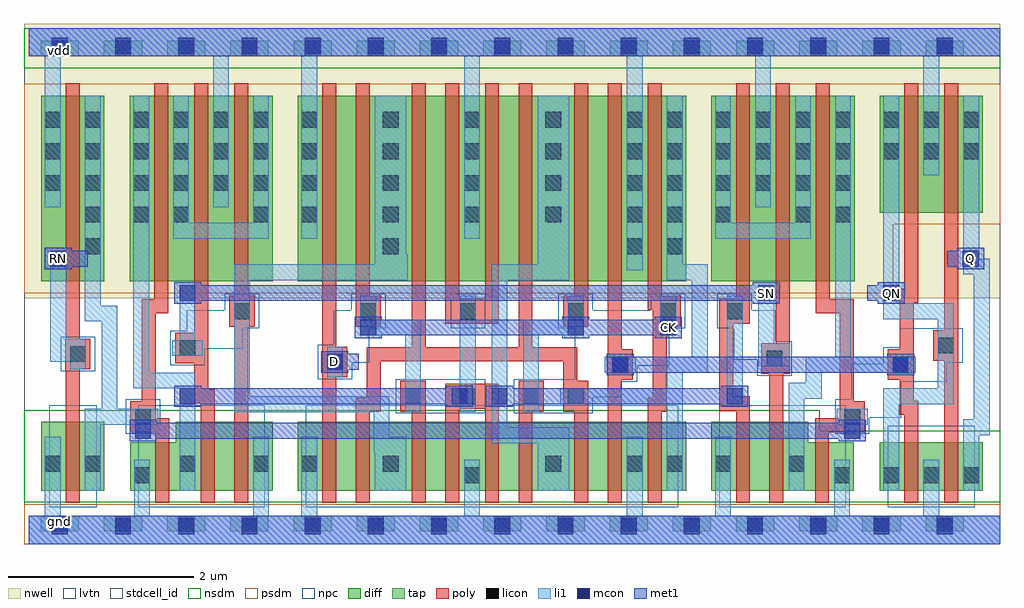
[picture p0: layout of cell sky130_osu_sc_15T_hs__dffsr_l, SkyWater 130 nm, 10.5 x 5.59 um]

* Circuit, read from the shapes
.subckt sky130_osu_sc_15T_hs__dffsr_l CK D Q QN RN SN gnd vdd
XM1 n1 RN gnd gnd sky130_fd_pr__nfet_01v8_lvt w=0.74 l=0.15
XM2 n2 n1 gnd gnd sky130_fd_pr__nfet_01v8_lvt w=0.52 l=0.15
XM3 n3 SN n2 gnd sky130_fd_pr__nfet_01v8_lvt w=0.74 l=0.15
XM4 gnd n4 n3 gnd sky130_fd_pr__nfet_01v8_lvt w=0.74 l=0.15
XM5 n5 D gnd gnd sky130_fd_pr__nfet_01v8_lvt w=0.74 l=0.15
XM6 n4 n6 n5 gnd sky130_fd_pr__nfet_01v8_lvt w=0.74 l=0.15
XM7 n7 CK n4 gnd sky130_fd_pr__nfet_01v8_lvt w=0.74 l=0.15
XM8 gnd n2 n7 gnd sky130_fd_pr__nfet_01v8_lvt w=0.74 l=0.15
XM9 n8 n2 gnd gnd sky130_fd_pr__nfet_01v8_lvt w=0.74 l=0.15
XM10 n9 CK n8 gnd sky130_fd_pr__nfet_01v8_lvt w=0.74 l=0.15
XM11 n10 n6 n9 gnd sky130_fd_pr__nfet_01v8_lvt w=0.74 l=0.15
XM12 gnd n11 n10 gnd sky130_fd_pr__nfet_01v8_lvt w=0.74 l=0.15
XM13 n6 CK gnd gnd sky130_fd_pr__nfet_01v8_lvt w=0.74 l=0.15
XM14 n12 n9 gnd gnd sky130_fd_pr__nfet_01v8_lvt w=0.74 l=0.15
XM15 n11 SN n12 gnd sky130_fd_pr__nfet_01v8_lvt w=0.74 l=0.15
XM16 gnd n1 n11 gnd sky130_fd_pr__nfet_01v8_lvt w=0.52 l=0.15
XM17 gnd n11 QN gnd sky130_fd_pr__nfet_01v8_lvt w=0.52 l=0.15
XM18 Q QN gnd gnd sky130_fd_pr__nfet_01v8_lvt w=0.52 l=0.15
XM19 n1 RN vdd vdd sky130_fd_pr__pfet_01v8 w=2 l=0.15
XM20 n13 n1 n2 vdd sky130_fd_pr__pfet_01v8 w=2 l=0.15
XM21 vdd SN n13 vdd sky130_fd_pr__pfet_01v8 w=2 l=0.15
XM22 n13 n4 vdd vdd sky130_fd_pr__pfet_01v8 w=2 l=0.15
XM23 n14 D vdd vdd sky130_fd_pr__pfet_01v8 w=2 l=0.15
XM24 n4 CK n14 vdd sky130_fd_pr__pfet_01v8 w=2 l=0.15
XM25 n15 n6 n4 vdd sky130_fd_pr__pfet_01v8 w=2 l=0.15
XM26 vdd n2 n15 vdd sky130_fd_pr__pfet_01v8 w=2 l=0.15
XM27 n16 n2 vdd vdd sky130_fd_pr__pfet_01v8 w=2 l=0.15
XM28 n9 n6 n16 vdd sky130_fd_pr__pfet_01v8 w=2 l=0.15
XM29 n17 CK n9 vdd sky130_fd_pr__pfet_01v8 w=2 l=0.15
XM30 vdd n11 n17 vdd sky130_fd_pr__pfet_01v8 w=2 l=0.15
XM31 n6 CK vdd vdd sky130_fd_pr__pfet_01v8 w=2 l=0.15
XM32 vdd n9 n18 vdd sky130_fd_pr__pfet_01v8 w=2 l=0.15
XM33 n18 SN vdd vdd sky130_fd_pr__pfet_01v8 w=2 l=0.15
XM34 n11 n1 n18 vdd sky130_fd_pr__pfet_01v8 w=2 l=0.15
XM35 vdd n11 QN vdd sky130_fd_pr__pfet_01v8 w=1.26 l=0.15
XM36 Q QN vdd vdd sky130_fd_pr__pfet_01v8 w=1.26 l=0.15
.ends

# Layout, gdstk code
import gdstk
lib = gdstk.Library(unit=1e-6, precision=1e-09)
def R(c, l, rs):  # rectangles x0, y0, x1, y1
    for r in rs: c.add(gdstk.rectangle(r[:2], r[2:], *l))
def A(c, l, x, y, w, h, nx, ny, dx, dy):  # array of equal rectangles
    R(c, l, [(x+i*dx, y+j*dy, x+i*dx+w, y+j*dy+h) for i in range(nx) for j in range(ny)])
nwell = (64, 20)
diff = (65, 20)
tap = (65, 44)
poly = (66, 20)
licon = (66, 44)
li1 = (67, 20)
mcon = (67, 44)
met1 = (68, 20)
stdcell_id = (81, 4)
nsdm = (93, 44)
psdm = (94, 20)
npc = (95, 20)
lvtn = (125, 44)

sky130_osu_sc_15t_hs__df = lib.new_cell('sky130_osu_sc_15T_hs__dffsr_l')
R(sky130_osu_sc_15t_hs__df, nwell, [(-0.05,2.645,10.45,5.595)])
R(sky130_osu_sc_15t_hs__df, diff, [(0.135,0.575,0.815,1.315), (1.095,0.575,2.625,1.095), (2.895,0.575,7.075,1.315), (7.345,0.575,8.875,1.095), (9.155,0.575,10.265,1.095), (1.585,1.095,2.625,1.315), (7.345,1.095,8.385,1.315), (0.135,2.825,0.815,4.825), (1.085,2.825,2.625,4.825), (2.895,2.825,7.075,4.825), (7.345,2.825,8.885,4.825), (9.155,3.565,10.265,4.825)])
A(sky130_osu_sc_15t_hs__df, tap, 0.13, 0.135, 0.41, 0.17, 15, 2, 0.68, 5.11)
R(sky130_osu_sc_15t_hs__df, poly, [(0.4,0.445,0.55,1.875), (1.36,0.445,1.51,1.205), (1.85,0.445,2,1.515), (2.21,0.445,2.36,2.34), (3.16,0.445,3.31,1.795), (3.52,0.445,3.67,1.425), (4.12,0.445,4.27,1.425), (4.48,0.445,4.63,1.455), (4.91,0.445,5.06,1.455), (5.27,0.445,5.42,1.425), (5.87,0.445,6.02,1.425), (6.23,0.445,6.38,1.765), (6.66,0.445,6.81,1.425), (7.61,0.445,7.76,1.43), (7.97,0.445,8.12,1.83), (8.46,0.445,8.61,1.205), (9.42,0.445,9.57,1.39), (9.85,0.445,10,1.97), (1.095,1.205,1.51,1.355), (8.46,1.205,8.995,1.355), (1.095,1.355,1.365,1.535), (8.725,1.355,8.995,1.535), (9.37,1.39,9.57,1.54), (3.52,1.425,3.79,1.575), (4,1.425,4.27,1.755), (5.27,1.425,5.54,1.755), (5.75,1.425,6.02,1.755), (6.66,1.425,6.865,1.575), (7.43,1.43,7.76,1.59), (4.48,1.455,5.06,1.725), (1.78,1.515,2,1.665), (1.215,1.535,1.365,2.485), (8.725,1.535,8.875,2.485), (9.37,1.54,9.52,1.765), (3.64,1.575,3.79,1.965), (6.715,1.575,6.865,2.34), (7.43,1.59,7.58,2.37), (1.78,1.665,1.93,1.945), (5.75,1.755,5.9,1.965), (6.23,1.765,6.5,2.095), (9.245,1.765,9.52,2.095), (3.16,1.795,3.43,2.125), (7.88,1.83,8.19,2.16), (0.395,1.875,0.55,1.88), (0.395,1.88,0.665,2.21), (1.575,1.945,1.93,2.275), (3.64,1.965,5.9,2.115), (9.73,1.97,10,2.3), (6.23,2.095,6.38,4.955), (9.37,2.095,9.52,2.595), (4.12,2.115,4.27,4.955), (5.27,2.115,5.42,4.955), (3.16,2.125,3.31,4.955), (8.04,2.16,8.19,4.955), (0.4,2.21,0.55,4.955), (1.78,2.275,1.93,4.955), (9.85,2.3,10,4.955), (2.16,2.34,2.43,2.67), (3.52,2.34,3.79,2.67), (5.75,2.34,6.02,2.67), (6.715,2.34,7.015,2.52), (4.48,2.37,5.06,2.64), (7.43,2.37,7.76,2.64), (1.215,2.485,1.5,2.635), (8.47,2.485,8.875,2.635), (6.66,2.52,7.015,2.67), (9.37,2.595,9.57,2.745), (1.35,2.635,1.5,4.955), (8.47,2.635,8.62,4.955), (4.48,2.64,4.63,4.955), (4.91,2.64,5.06,4.955), (7.61,2.64,7.76,4.955), (2.21,2.67,2.36,4.955), (3.52,2.67,3.67,4.955), (5.87,2.67,6.02,4.955), (6.66,2.67,6.81,4.955), (9.42,2.745,9.57,4.955)])
A(sky130_osu_sc_15t_hs__df, licon, 0.25, 0.135, 0.17, 0.17, 15, 2, 0.68, 5.11)
A(sky130_osu_sc_15t_hs__df, licon, 9.195, 0.655, 0.17, 0.17, 3, 2, 0.43, 3.485)
A(sky130_osu_sc_15t_hs__df, licon, 0.605, 3.12, 0.17, 0.17, 1, 5, 0, 0.34)
A(sky130_osu_sc_15t_hs__df, licon, 6.865, 3.12, 0.17, 0.17, 1, 5, 0, 0.34)
A(sky130_osu_sc_15t_hs__df, licon, 2.935, 3.46, 0.17, 0.17, 5, 4, 0.875, 0.34)
A(sky130_osu_sc_15t_hs__df, licon, 0.175, 3.8, 0.17, 0.17, 1, 3, 0, 0.34)
A(sky130_osu_sc_15t_hs__df, licon, 1.125, 3.8, 0.17, 0.17, 4, 3, 0.43, 0.34)
A(sky130_osu_sc_15t_hs__df, licon, 7.385, 3.8, 0.17, 0.17, 4, 3, 0.43, 0.34)
A(sky130_osu_sc_15t_hs__df, licon, 9.195, 4.48, 0.17, 0.17, 3, 1, 0.43, 0)
R(sky130_osu_sc_15t_hs__df, licon, [(1.135,0.655,1.305,0.825), (4.685,0.655,4.855,0.825), (8.665,0.655,8.835,0.825), (0.175,0.78,0.345,0.95), (0.605,0.78,0.775,0.95), (1.625,0.78,1.795,0.95), (2.415,0.78,2.585,0.95), (2.935,0.78,3.105,0.95), (3.81,0.78,3.98,0.95), (5.56,0.78,5.73,0.95), (6.435,0.78,6.605,0.95), (6.865,0.78,7.035,0.95), (7.385,0.78,7.555,0.95), (8.175,0.78,8.345,0.95), (1.145,1.285,1.315,1.455), (8.775,1.285,8.945,1.455), (4.05,1.505,4.22,1.675), (4.64,1.505,4.81,1.675), (5.32,1.505,5.49,1.675), (5.8,1.505,5.97,1.675), (6.28,1.845,6.45,2.015), (9.295,1.845,9.465,2.015), (3.21,1.875,3.38,2.045), (7.94,1.91,8.11,2.08), (0.445,1.96,0.615,2.13), (1.625,2.025,1.795,2.195), (9.78,2.05,9.95,2.22), (2.21,2.42,2.38,2.59), (3.57,2.42,3.74,2.59), (4.64,2.42,4.81,2.59), (5.8,2.42,5.97,2.59), (6.795,2.42,6.965,2.59), (7.51,2.42,7.68,2.59), (3.81,3.12,3.98,3.29), (6.435,3.12,6.605,3.29), (1.125,3.46,1.295,3.63), (1.555,3.46,1.725,3.63), (2.415,3.46,2.585,3.63), (7.385,3.46,7.555,3.63), (8.245,3.46,8.415,3.63), (8.675,3.46,8.845,3.63)])
R(sky130_osu_sc_15t_hs__df, li1, [(0,0,10.45,0.305), (0.175,0.305,0.345,1.155), (1.135,0.305,1.305,0.905), (2.415,0.305,2.585,1.155), (2.935,0.305,3.105,1.155), (4.685,0.305,4.855,0.905), (6.435,0.305,6.605,1.155), (7.385,0.305,7.555,1.155), (8.665,0.305,8.835,0.905), (9.625,0.305,9.795,0.905), (0.605,0.575,0.775,1.285), (1.625,0.575,1.795,1.675), (3.725,0.575,4.065,0.985), (5.475,0.575,5.815,1.085), (6.865,0.575,7.035,1.505), (8.175,0.575,8.345,1.565), (9.195,0.575,9.365,1.505), (10.055,0.575,10.225,1.17), (3.71,0.985,4.065,1.155), (4.98,1.085,5.815,1.255), (1.145,1.135,1.315,1.285), (8.775,1.135,8.945,1.285), (3.71,1.155,3.88,1.42), (10.055,1.17,10.34,1.34), (4.98,1.255,5.15,2.84), (0.605,1.285,1.395,1.455), (8.695,1.285,9.025,1.455), (10.17,1.34,10.34,2.9), (2.21,1.42,3.88,1.59), (4.05,1.425,4.22,2.245), (4.64,1.425,4.81,1.505), (5.32,1.425,5.49,2.245), (0.785,1.455,0.955,2.395), (4.55,1.505,4.81,1.675), (5.72,1.505,7.035,1.675), (7.51,1.505,7.68,2.67), (9.195,1.505,9.95,1.675), (8.175,1.565,8.53,1.735), (2.21,1.59,2.38,2.84), (1.125,1.675,1.795,1.845), (4.64,1.675,4.81,2.67), (6.865,1.675,7.035,1.845), (9.78,1.675,9.95,2.42), (8.36,1.735,8.53,1.845), (3.21,1.795,3.38,2.125), (1.125,1.845,1.295,4.825), (6.2,1.845,6.53,2.015), (6.865,1.845,7.305,2.015), (8.36,1.845,9.545,2.015), (0.445,1.88,0.615,1.96), (7.85,1.91,8.19,2.16), (0.235,1.96,0.615,2.21), (7.135,2.015,7.305,2.84), (8.675,2.015,8.845,4.825), (1.545,2.025,1.875,2.195), (7.85,2.16,8.02,2.785), (1.625,2.195,1.795,2.785), (0.235,2.21,0.405,3.155), (3.57,2.245,4.22,2.415), (5.32,2.245,5.97,2.415), (6.795,2.245,6.965,2.67), (0.605,2.395,0.955,2.565), (3.57,2.415,3.74,2.67), (5.8,2.415,5.97,2.67), (9.195,2.42,9.95,2.59), (0.605,2.565,0.775,4.825), (9.195,2.59,9.365,4.825), (2.21,2.84,4.08,3.01), (4.98,2.84,5.815,3.01), (6.865,2.84,7.305,3.01), (10.055,2.9,10.34,2.985), (6.435,2.945,6.605,5.245), (10.05,2.985,10.34,3.07), (3.725,3.01,4.08,3.115), (5.475,3.01,5.815,4.825), (6.865,3.01,7.035,4.825), (10.05,3.07,10.225,3.155), (3.725,3.115,4.065,4.825), (10.055,3.155,10.225,4.825), (1.555,3.285,2.585,3.455), (2.935,3.285,3.105,5.245), (4.685,3.285,4.855,5.245), (7.385,3.285,8.415,3.455), (1.555,3.455,1.725,4.825), (2.415,3.455,2.585,4.825), (7.385,3.455,7.555,4.825), (8.245,3.455,8.415,4.825), (0.175,3.625,0.345,5.245), (1.985,3.625,2.155,5.245), (7.815,3.625,7.985,5.245), (9.625,3.965,9.795,5.245), (0,5.245,10.45,5.55)])
A(sky130_osu_sc_15t_hs__df, mcon, 0.25, 0.105, 0.17, 0.17, 15, 2, 0.68, 5.17)
R(sky130_osu_sc_15t_hs__df, mcon, [(1.145,1.135,1.315,1.305), (8.775,1.135,8.945,1.305), (1.625,1.505,1.795,1.675), (4.55,1.505,4.72,1.675), (4.98,1.505,5.15,1.675), (7.51,1.505,7.68,1.675), (6.28,1.845,6.45,2.015), (9.295,1.845,9.465,2.015), (3.21,1.875,3.38,2.045), (3.57,2.245,3.74,2.415), (5.8,2.245,5.97,2.415), (6.795,2.245,6.965,2.415), (1.625,2.615,1.795,2.785), (7.85,2.615,8.02,2.785), (9.195,2.615,9.365,2.785), (0.235,2.985,0.405,3.155), (10.05,2.985,10.22,3.155)])
R(sky130_osu_sc_15t_hs__df, met1, [(0,0,10.45,0.305), (1.085,1.105,1.375,1.135), (8.715,1.105,9.005,1.135), (1.085,1.135,9.005,1.305), (1.085,1.305,1.375,1.335), (8.715,1.305,9.005,1.335), (1.565,1.475,1.855,1.505), (4.49,1.475,4.78,1.505), (4.92,1.475,5.21,1.505), (7.45,1.475,7.74,1.505), (1.565,1.505,4.78,1.675), (4.92,1.505,7.74,1.675), (1.565,1.675,1.855,1.705), (4.49,1.675,4.78,1.705), (4.92,1.675,5.21,1.705), (7.45,1.675,7.74,1.705), (6.22,1.815,6.51,1.845), (9.235,1.815,9.525,1.845), (3.15,1.845,3.44,1.875), (6.22,1.845,9.525,2.015), (3.15,1.875,3.55,2.045), (6.22,2.015,6.51,2.045), (9.235,2.015,9.525,2.045), (3.15,2.045,3.44,2.075), (3.51,2.215,3.8,2.245), (5.74,2.215,6.03,2.245), (6.735,2.215,7.025,2.245), (3.51,2.245,7.025,2.415), (3.51,2.415,3.8,2.445), (5.74,2.415,6.03,2.445), (6.735,2.415,7.025,2.445), (1.565,2.585,1.855,2.615), (7.79,2.585,8.08,2.615), (9.135,2.585,9.425,2.615), (1.565,2.615,8.08,2.785), (9.02,2.615,9.425,2.785), (1.565,2.785,1.855,2.815), (7.79,2.785,8.08,2.815), (9.135,2.785,9.425,2.815), (0.175,2.955,0.465,2.985), (9.99,2.955,10.28,2.985), (0.175,2.985,0.635,3.155), (9.88,2.985,10.28,3.155), (0.175,3.155,0.465,3.185), (9.99,3.155,10.28,3.185), (0,5.245,10.45,5.55)])
R(sky130_osu_sc_15t_hs__df, stdcell_id, [(-0.05,0,10.45,5.55)])
R(sky130_osu_sc_15t_hs__df, nsdm, [(-0.05,0.45,10.45,1.22), (-0.05,1.22,8.51,1.44), (-0.05,5.12,10.45,5.55)])
R(sky130_osu_sc_15t_hs__df, psdm, [(-0.05,0,10.45,0.43), (-0.05,2.7,9.3,3.44), (-0.05,3.44,10.45,4.95)])
R(sky130_osu_sc_15t_hs__df, npc, [(1.045,1.185,1.415,1.555), (8.675,1.185,9.045,1.36), (8.675,1.36,9.39,1.555), (3.95,1.405,4.91,1.775), (5.22,1.405,6.07,1.58), (8.85,1.555,9.39,1.745), (5.22,1.58,6.375,1.745), (5.22,1.745,6.55,1.775), (8.85,1.745,9.875,1.94), (3.11,1.775,3.48,1.95), (5.875,1.775,6.55,1.92), (7.84,1.81,8.21,1.985), (0.345,1.86,0.715,2.23), (5.875,1.92,6.89,2.32), (1.525,1.925,1.895,2.1), (9.195,1.94,9.875,1.95), (3.11,1.95,3.665,2.145), (9.195,1.95,10.05,2.115), (7.585,1.985,8.21,2.18), (1.525,2.1,2.305,2.295), (9.37,2.115,10.05,2.32), (3.285,2.145,3.665,2.32), (7.585,2.18,8.035,2.32), (1.7,2.295,2.305,2.32), (1.7,2.32,2.48,2.515), (3.285,2.32,3.84,2.515), (4.54,2.32,4.91,2.69), (5.7,2.32,7.065,2.515), (7.41,2.32,8.035,2.515), (2.11,2.515,2.48,2.69), (3.47,2.515,3.84,2.69), (5.7,2.515,6.07,2.69), (6.695,2.515,7.065,2.69), (7.41,2.515,7.78,2.69)])
R(sky130_osu_sc_15t_hs__df, lvtn, [(0.22,0.395,0.73,1.495), (1.18,0.395,2.54,1.495), (2.98,0.395,6.99,1.495), (7.43,0.395,8.79,1.495), (9.24,0.395,10.18,1.275)])
sky130_osu_sc_15t_hs__df.add(gdstk.Label('gnd', (0.335,0.24), layer=68, texttype=16))
sky130_osu_sc_15t_hs__df.add(gdstk.Label('vdd', (0.335,5.31), layer=68, texttype=16))
sky130_osu_sc_15t_hs__df.add(gdstk.Label('D', (3.295,1.96), layer=68, texttype=5))
sky130_osu_sc_15t_hs__df.add(gdstk.Label('CK', (6.88,2.33), layer=68, texttype=5))
sky130_osu_sc_15t_hs__df.add(gdstk.Label('QN', (9.285,2.7), layer=68, texttype=5))
sky130_osu_sc_15t_hs__df.add(gdstk.Label('Q', (10.135,3.07), layer=68, texttype=5))
sky130_osu_sc_15t_hs__df.add(gdstk.Label('SN', (7.935,2.7), layer=68, texttype=5))
sky130_osu_sc_15t_hs__df.add(gdstk.Label('RN', (0.325,3.07), layer=68, texttype=5))

lib.write_gds('sky130_osu_sc_15T_hs__dffsr_l.gds')
